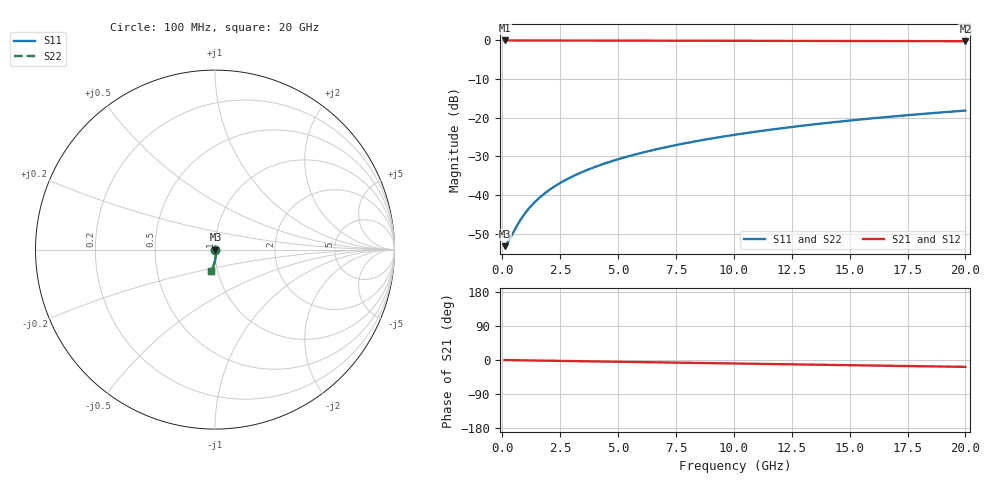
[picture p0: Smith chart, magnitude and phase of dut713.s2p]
! Touchstone file exported from HFSS 2026.1.0
!  File:  C:/ffzhzh/LocalFiles/Ansys_Project_Files/temp_train_BSMRDL_713_1783168236_43440.aedt
!  Generated:  08:31:38 PM Jul  4, 2026
!  Design:  BSMRDL
!  Project:  temp_train_BSMRDL_713_1783168236_43440
! Variables:
!  h_bsmrdl = 3.22um
!  h_ox = 20um
!  h_rdl = 5um
!  h_sub = 80um
!  h_tmrdl = 5um
!  h_tsv = 80um
!  h_via = 3um
!  l_bsmrdl = 283.69um
!  l_sub = 683.69um
!  l_tmrdl = 200um
!  m_sub = 200um
!  pitch = 17.07um
!  r_tsv = 6um
!  s_tmrdl = 10um
!  w_bsmrdl = 15.91um
!  w_sub = 500um
!  w_tmrdl = 12um
!  x_tsv_center1 = 206um
!  x_tsv_center2 = 505.6um
!  x_tsv_center3 = 717.6um
!  x_tsv_center4 = 1017.2um
!  x_tsv_center5 = 1229.2um
!  x_tsv_center6 = 1528.8um
# GHz S MA R 50.000000
! Terminal data exported
! Port[1] = BSM_RDL1_1_T1
! Port[2] = BSM_RDL1_1_T2
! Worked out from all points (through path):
!   200 points, 100 MHz to 20 GHz, reference 50 ohm
!   highest |S21| = -0.02 dB at 100 MHz (marker M1); lowest = -0.2 dB at 20 GHz (marker M2)
!   group delay of S21, straight-line fit = 2.5 ps
!   lowest |S11| = -53.2 dB at 100 MHz (marker M3), VSWR 1.00, Z = 50.2 - j0.0193 ohm
!   |S11| at or under -10 dB: start of sweep to end of sweep
!   |S22| runs from -53.2 to -18.1 dB; largest |S21 - S12| = 7.2e-15
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0.1  0.002193 -5.0  0.9978 -0.1  0.9978 -0.1  0.002193 -5.0
! Gamma 0 0 0 0
! Port Impedance 50 0 50 0
0.2  0.002374 -10.4  0.9977 -0.2  0.9977 -0.2  0.002374 -10.4
0.3  0.002653 -16.1  0.9974 -0.3  0.9974 -0.3  0.002653 -16.1
0.6  0.00388 -32.6  0.9967 -0.6  0.9967 -0.6  0.00388 -32.6
0.7  0.004365 -37.3  0.9965 -0.7  0.9965 -0.7  0.004365 -37.3
0.9  0.005393 -45.2  0.9961 -0.9  0.9961 -0.9  0.005393 -45.2
1.2  0.007014 -54.0  0.9957 -1.2  0.9957 -1.2  0.007014 -54.0
1.5  0.008682 -60.1  0.9954 -1.5  0.9954 -1.5  0.008682 -60.1
1.9  0.01094 -65.9  0.9951 -1.9  0.9951 -1.9  0.01094 -65.9
2.4  0.01381 -70.7  0.9948 -2.3  0.9948 -2.3  0.01381 -70.7
2.9  0.0167 -74.1  0.9945 -2.8  0.9945 -2.8  0.0167 -74.1
3.5  0.0202 -77.0  0.9941 -3.3  0.9941 -3.3  0.0202 -77.0
4.2  0.02434 -79.4  0.9936 -4.0  0.9936 -4.0  0.02434 -79.4
5  0.02912 -81.6  0.993 -4.7  0.993 -4.7  0.02912 -81.6
5.9  0.03456 -83.5  0.9922 -5.6  0.9922 -5.6  0.03456 -83.5
6.8  0.04007 -85.1  0.9914 -6.4  0.9914 -6.4  0.04007 -85.1
8.3  0.04939 -87.3  0.9898 -7.7  0.9898 -7.7  0.04939 -87.3
10.1  0.06073 -89.7  0.9879 -9.4  0.9879 -9.4  0.06073 -89.7
11.7  0.07092 -91.6  0.9861 -10.8  0.9861 -10.8  0.07092 -91.6
13.4  0.08181 -93.5  0.9841 -12.3  0.9841 -12.3  0.08181 -93.5
16.7  0.103 -97.1  0.98 -15.2  0.98 -15.2  0.103 -97.2
20  0.1239 -100.6  0.9756 -18.1  0.9756 -18.1  0.1239 -100.6
